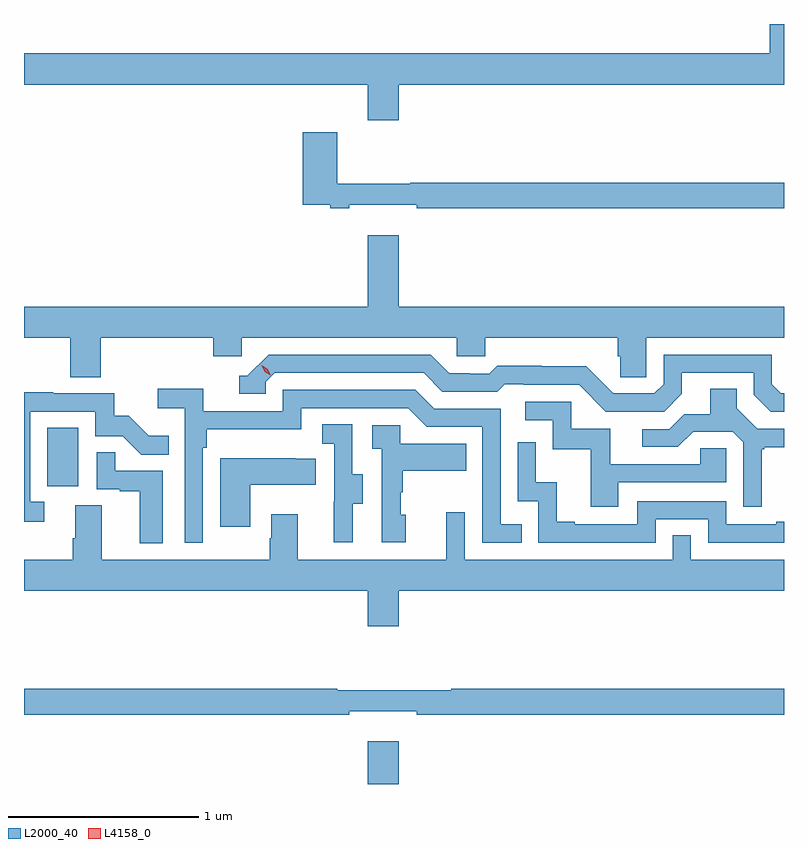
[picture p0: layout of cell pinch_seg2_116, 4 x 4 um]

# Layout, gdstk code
import gdstk
lib = gdstk.Library(unit=1e-6, precision=1e-09)
def R(c, l, rs):  # rectangles x0, y0, x1, y1
    for r in rs: c.add(gdstk.rectangle(r[:2], r[2:], *l))
def P(c, l, *ps):  # polygons
    for p in ps: c.add(gdstk.Polygon(p, *l))
L2000_40 = (2000, 40)
L4158_0 = (4158, 0)

pinch_seg2_116 = lib.new_cell('pinch_seg2_116')
R(pinch_seg2_116, L2000_40, [(1028.144,634.631,1028.308,634.855), (1026.458,636.198,1026.622,636.505)])
P(pinch_seg2_116, L2000_40, [(1028.308,638.312),(1030.336,638.312),(1030.336,638.631),(1030.262,638.631),(1030.262,638.476),(1026.336,638.476),(1026.336,638.312),(1028.144,638.312),(1028.144,638.124),(1028.308,638.124)],
  [(1028.048,637.679),(1028.404,637.679),(1028.404,637.66),(1030.336,637.66),(1030.336,637.796),(1028.368,637.796),(1028.368,637.789),(1027.985,637.789),(1027.985,638.062),(1027.802,638.062),(1027.802,637.68),(1027.948,637.68),(1027.948,637.66),(1028.048,637.66)],
  [(1026.74,636.98),(1027.331,636.98),(1027.331,636.882),(1027.482,636.882),(1027.482,636.98),(1028.613,636.98),(1028.613,636.882),(1028.763,636.882),(1028.763,636.98),(1029.461,636.98),(1029.461,636.882),(1029.475,636.882),(1029.475,636.772),(1029.612,636.772),(1029.612,636.98),(1030.336,636.98),(1030.336,637.144),(1028.308,637.144),(1028.308,637.519),(1028.144,637.519),(1028.144,637.144),(1026.336,637.144),(1026.336,636.98),(1026.58,636.98),(1026.58,636.772),(1026.74,636.772)],
  [(1029.799,636.685),(1029.799,636.795),(1030.176,636.795),(1030.176,636.681),(1030.266,636.591),(1030.336,636.591),(1030.336,636.687),(1030.32,636.687),(1030.272,636.735),(1030.272,636.891),(1029.702,636.891),(1029.702,636.735),(1029.654,636.687),(1029.438,636.687),(1029.296,636.829),(1029.06,636.829),(1029.06,636.832),(1028.827,636.832),(1028.785,636.789),(1028.682,636.789),(1028.682,636.792),(1028.575,636.792),(1028.476,636.891),(1027.623,636.891),(1027.512,636.78),(1027.469,636.78),(1027.469,636.684),(1027.608,636.684),(1027.608,636.747),(1027.656,636.795),(1028.439,636.795),(1028.538,636.696),(1028.827,636.696),(1028.866,636.735),(1028.965,636.735),(1028.965,636.732),(1029.258,636.732),(1029.399,636.591),(1029.705,636.591)],
  [(1027.278,636.401),(1027.298,636.401),(1027.298,636.497),(1027.794,636.497),(1027.794,636.609),(1028.358,636.609),(1028.457,636.51),(1028.748,636.51),(1028.748,635.901),(1028.957,635.901),(1028.957,635.997),(1028.844,635.997),(1028.844,636.606),(1028.494,636.606),(1028.395,636.705),(1027.698,636.705),(1027.698,636.594),(1027.28,636.594),(1027.28,636.71),(1027.041,636.71),(1027.041,636.608),(1027.182,636.608),(1027.182,635.901),(1027.278,635.901)],
  [(1030.219,636.393),(1030.231,636.393),(1030.231,636.404),(1030.336,636.404),(1030.336,636.501),(1030.194,636.501),(1030.087,636.608),(1030.087,636.71),(1029.947,636.71),(1029.947,636.578),(1029.812,636.578),(1029.732,636.498),(1029.591,636.498),(1029.591,636.405),(1029.778,636.405),(1029.859,636.486),(1030.065,636.486),(1030.122,636.429),(1030.122,636.09),(1030.219,636.09)],
  [(1026.442,636.117),(1026.369,636.117),(1026.369,636.591),(1026.711,636.591),(1026.711,636.462),(1026.856,636.462),(1026.954,636.364),(1027.097,636.364),(1027.097,636.463),(1026.993,636.463),(1026.886,636.57),(1026.81,636.57),(1026.81,636.687),(1026.491,636.687),(1026.491,636.692),(1026.336,636.692),(1026.336,636.012),(1026.442,636.012)],
  [(1029.463,636.219),(1030.032,636.219),(1030.032,636.399),(1029.895,636.399),(1029.895,636.315),(1029.421,636.315),(1029.421,636.501),(1029.216,636.501),(1029.216,636.642),(1028.973,636.642),(1028.973,636.546),(1029.12,636.546),(1029.12,636.393),(1029.319,636.393),(1029.319,636.09),(1029.463,636.09)],
  [(1028.065,636.106),(1028.119,636.106),(1028.119,636.261),(1028.064,636.261),(1028.064,636.524),(1027.905,636.524),(1027.905,636.421),(1027.968,636.421),(1027.968,636.117),(1027.967,636.117),(1027.967,635.904),(1028.065,635.904)],
  [(1028.344,636.048),(1028.319,636.048),(1028.319,636.167),(1028.329,636.167),(1028.329,636.281),(1028.663,636.281),(1028.663,636.421),(1028.316,636.421),(1028.316,636.519),(1028.169,636.519),(1028.169,636.395),(1028.22,636.395),(1028.22,635.904),(1028.344,635.904)],
  [(1029.66,636.024),(1029.936,636.024),(1029.936,635.901),(1030.336,635.901),(1030.336,636.01),(1030.295,636.01),(1030.295,635.997),(1030.032,635.997),(1030.032,636.12),(1029.564,636.12),(1029.564,635.997),(1029.235,635.997),(1029.235,636.01),(1029.14,636.01),(1029.14,636.218),(1029.03,636.218),(1029.03,636.43),(1028.934,636.43),(1028.934,636.12),(1029.042,636.12),(1029.042,635.901),(1029.66,635.901)],
  [(1027.066,636.279),(1026.815,636.279),(1026.815,636.377),(1026.72,636.377),(1026.72,636.183),(1026.841,636.183),(1026.841,636.171),(1026.944,636.171),(1026.944,635.897),(1027.066,635.897)],
  [(1027.528,636.206),(1027.871,636.206),(1027.871,636.343),(1027.763,636.343),(1027.763,636.346),(1027.37,636.346),(1027.37,635.985),(1027.528,635.985)],
  [(1028.308,635.648),(1030.336,635.648),(1030.336,635.812),(1029.846,635.812),(1029.846,635.939),(1029.75,635.939),(1029.75,635.812),(1028.655,635.812),(1028.655,636.061),(1028.558,636.061),(1028.558,635.812),(1027.777,635.812),(1027.777,636.052),(1027.637,636.052),(1027.637,635.924),(1027.63,635.924),(1027.63,635.812),(1026.745,635.812),(1026.745,636.098),(1026.605,636.098),(1026.605,635.924),(1026.593,635.924),(1026.593,635.812),(1026.336,635.812),(1026.336,635.648),(1028.144,635.648),(1028.144,635.46),(1028.308,635.46)],
  [(1028.048,635.015),(1028.404,635.015),(1028.404,634.996),(1030.336,634.996),(1030.336,635.132),(1028.585,635.132),(1028.585,635.125),(1027.985,635.125),(1027.985,635.132),(1026.336,635.132),(1026.336,634.996),(1028.048,634.996)])
P(pinch_seg2_116, L4158_0, [(1027.634,636.782),(1027.603,636.802),(1027.587,636.835),(1027.587,636.835),(1027.587,636.835),(1027.618,636.815),(1027.634,636.783),(1027.634,636.782)])

lib.write_gds('pinch_seg2_116.gds')
